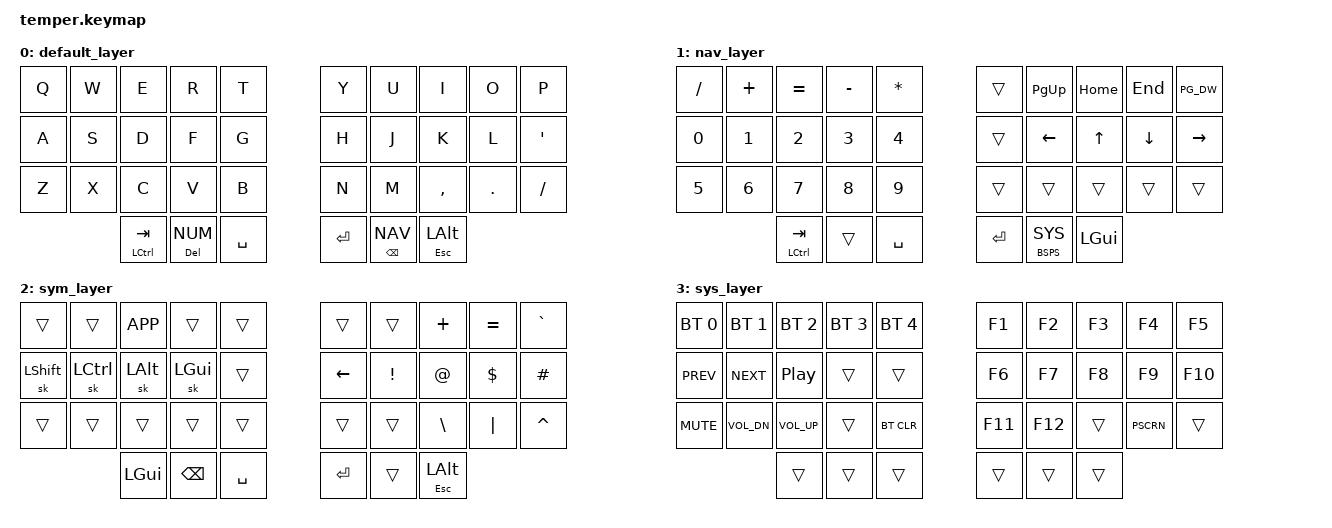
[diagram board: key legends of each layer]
/*
 * Copyright (c) 2020 The ZMK Contributors
 *
 * SPDX-License-Identifier: MIT
 */

#include <behaviors.dtsi>
#include <dt-bindings/zmk/keys.h>
#include <dt-bindings/zmk/bt.h>
#include <dt-bindings/zmk/outputs.h>

#define DEFAULT 0
#define NAV 1
#define SYM 2
#define SYS 3

/ {
    conditional_layers {
        compatible = "zmk,conditional-layers";
        tri_layer {
            if-layers = <NAV SYM>;
            then-layer = <SYS>;
        };
    };
    
        keymap {
                compatible = "zmk,keymap";

                default_layer {
                        bindings = <
// ╭─────────────┬─────────────┬─────────────┬─────────────┬─────────────╮   ╭─────────────┬─────────────┬─────────────┬─────────────┬─────────────╮
        &kp Q         &kp W         &kp E         &kp R         &kp T             &kp Y         &kp U         &kp I         &kp O         &kp P   
// ├─────────────┼─────────────┼─────────────┼─────────────┼─────────────┤   ├─────────────┼─────────────┼─────────────┼─────────────┼─────────────┤
        &kp A         &kp S         &kp D         &kp F         &kp G             &kp H         &kp J         &kp K         &kp L        &kp APOS
// ├─────────────┼─────────────┼─────────────┼─────────────┼─────────────┤   ├─────────────┼─────────────┼─────────────┼─────────────┼─────────────┤
        &kp Z         &kp X         &kp C         &kp V         &kp B             &kp N         &kp M       &kp COMMA      &kp DOT       &kp FSLH
// ╰─────────────┴─────────────┼─────────────┼─────────────┼─────────────┤   ├─────────────┼─────────────┼─────────────┼─────────────┴─────────────╯
                                &mt LCTRL TAB  &mt DEL NUM   &kp SPACE          &kp ENTER    &mt BSPC NAV  &mt ESC LALT
//                             ╰─────────────┴─────────────┴─────────────╯   ╰─────────────┴─────────────┴─────────────╯
                        >;
                };

                nav_layer {
                        bindings = <
// ╭─────────────┬─────────────┬─────────────┬─────────────┬─────────────╮   ╭─────────────┬─────────────┬─────────────┬─────────────┬─────────────╮
      &kp SLASH     &kp PLUS     &kp EQUAL     &kp MINUS     &kp STAR           &trans        &kp PG_UP      &kp HOME     &kp END       &kp PG_DW  
// ├─────────────┼─────────────┼─────────────┼─────────────┼─────────────┤   ├─────────────┼─────────────┼─────────────┼─────────────┼─────────────┤
      &kp N0        &kp N1       &kp N2        &kp N3        &kp N4             &trans        &kp LEFT       &kp UP       &kp DOWN      &kp RIGHT
// ├─────────────┼─────────────┼─────────────┼─────────────┼─────────────┤   ├─────────────┼─────────────┼─────────────┼─────────────┼─────────────┤
      &kp N5        &kp N6       &kp N7        &kp N8        &kp N9             &trans         &trans        &trans        &trans       &trans
// ╰─────────────┴─────────────┼─────────────┼─────────────┼─────────────┤   ├─────────────┼─────────────┼─────────────┼─────────────┴─────────────╯
                                &mt LCTRL TAB    &trans       &kp SPACE         &kp ENTER    &mt BSPS SYS    &kp LGUI
//                             ╰─────────────┴─────────────┴─────────────╯   ╰─────────────┴─────────────┴─────────────╯
                        >;
                };

                sym_layer {
                        bindings = <
// ╭─────────────┬─────────────┬─────────────┬─────────────┬─────────────╮   ╭─────────────┬─────────────┬─────────────┬─────────────┬─────────────╮
        &trans        &trans      &kp K_APP      &trans        &trans            &trans       &trans        &kp PLUS      &kp EQUAL     &kp GRAVE
// ├─────────────┼─────────────┼─────────────┼─────────────┼─────────────┤   ├─────────────┼─────────────┼─────────────┼─────────────┼─────────────┤
      &sk LSHFT     &sk LCTRL      &sk LALT      &sk LGUI      &trans           &kp LEFT      &kp EXCL       &kp AT       &kp DLLR      &kp HASH
// ├─────────────┼─────────────┼─────────────┼─────────────┼─────────────┤   ├─────────────┼─────────────┼─────────────┼─────────────┼─────────────┤
        &trans       &trans        &trans        &trans        &trans            &trans        &trans       &kp BSLH      &kp PIPE      &kp CARET
// ╰─────────────┴─────────────┼─────────────┼─────────────┼─────────────┤   ├─────────────┼─────────────┼─────────────┼─────────────┴─────────────╯
                                    &kp LGUI    &kp BSPC     &kp SPACE         &kp ENTER       &trans     &mt ESC LALT 
//                             ╰─────────────┴─────────────┴─────────────╯   ╰─────────────┴─────────────┴─────────────╯
                        >;
                };

                sys_layer {
                        bindings = <
// ╭─────────────┬─────────────┬─────────────┬─────────────┬─────────────╮   ╭─────────────┬─────────────┬─────────────┬─────────────┬─────────────╮
     &bt BT_SEL 0  &bt BT_SEL 1  &bt BT_SEL 2  &bt BT_SEL 3  &bt BT_SEL 4         &kp F1        &kp F2        &kp F3        &kp F4       &kp F5
// ├─────────────┼─────────────┼─────────────┼─────────────┼─────────────┤   ├─────────────┼─────────────┼─────────────┼─────────────┼─────────────┤
     &kp C_PREV    &kp C_NEXT    &kp C_PP      &trans        &trans               &kp F6        &kp F7        &kp F8        &kp F9       &kp F10
// ├─────────────┼─────────────┼─────────────┼─────────────┼─────────────┤   ├─────────────┼─────────────┼─────────────┼─────────────┼─────────────┤
     &kp K_MUTE    &kp C_VOL_DN  &kp C_VOL_UP  &trans        &bt BT_CLR           &kp F11       &kp F12       &trans        &PSCRN       &trans
// ╰─────────────┴─────────────┼─────────────┼─────────────┼─────────────┤   ├─────────────┼─────────────┼─────────────┼─────────────┴─────────────╯
                                    &trans        &trans        &trans            &trans        &trans        &trans
//                             ╰─────────────┴─────────────┴─────────────╯   ╰─────────────┴─────────────┴─────────────╯
                        >;
                };
        };
};
